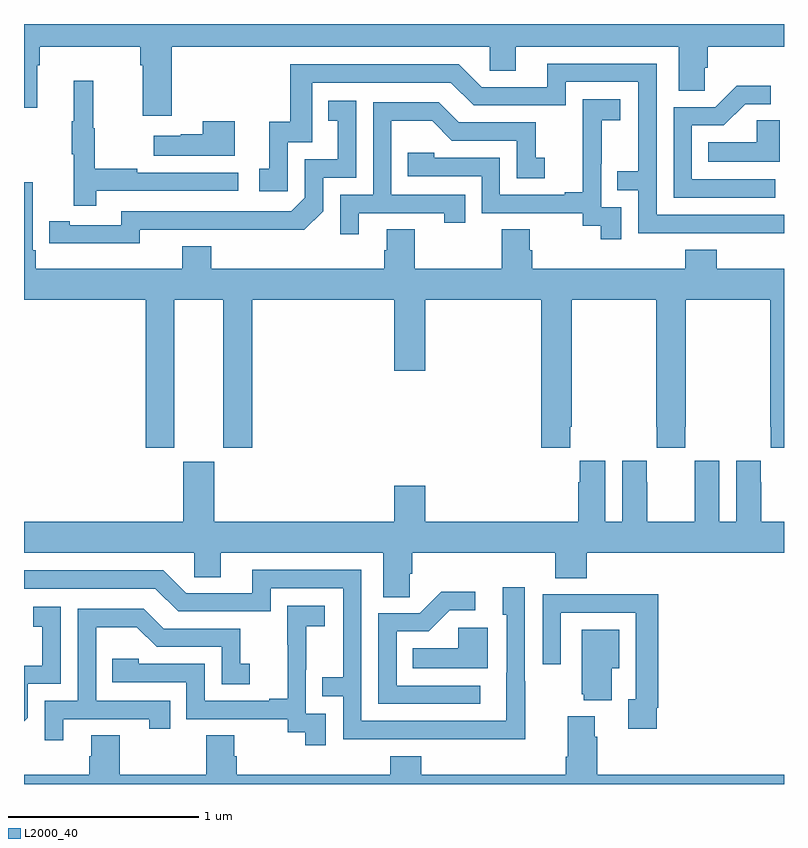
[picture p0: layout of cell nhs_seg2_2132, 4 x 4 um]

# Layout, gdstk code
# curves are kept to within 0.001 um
import gdstk
lib = gdstk.Library(unit=1e-6, precision=1e-09)
def P(c, l, *ps):  # polygons
    for p in ps: c.add(gdstk.Polygon(p, *l))
L2000_40 = (2000, 40)

nhs_seg2_2132 = lib.new_cell('nhs_seg2_2132')
P(nhs_seg2_2132, L2000_40, [(223,603.36),(223.069,603.36),(223.069,603.584),(223.082,603.584),(223.082,603.68),(223.613,603.68),(223.613,603.584),(223.625,603.584),(223.625,603.318),(223.778,603.318),(223.778,603.68),(225.45,603.68),(225.45,603.553),(225.589,603.553),(225.589,603.68),(226.445,603.68),(226.445,603.448),(226.584,603.448),(226.584,603.571),(226.598,603.571),(226.598,603.68),(227,603.68),(227,603.8),(223,603.8)],
  [(227,602.796),(226.329,602.796),(226.329,603.591),(225.755,603.591),(225.755,603.468),(225.408,603.468),(225.288,603.588),(224.401,603.588),(224.401,603.286),(224.291,603.286),(224.291,603.039),(224.238,603.039),(224.238,602.919),(224.388,602.919),(224.388,603.177),(224.517,603.177),(224.517,603.492),(225.246,603.492),(225.366,603.372),(225.852,603.372),(225.852,603.495),(226.233,603.495),(226.233,603.026),(226.123,603.026),(226.123,602.925),(226.233,602.925),(226.233,602.7),(227,602.699)],
  [(223.379,602.922),(224.128,602.922),(224.128,603.018),(223.595,603.018),(223.595,603.038),(223.372,603.038),(223.372,603.252),(223.364,603.252),(223.364,603.502),(223.262,603.502),(223.262,603.289),(223.251,603.289),(223.251,603.115),(223.262,603.115),(223.262,602.844),(223.379,602.844)],
  [(226.954,602.982),(226.515,602.982),(226.515,603.267),(226.684,603.267),(226.795,603.378),(226.93,603.378),(226.93,603.476),(226.751,603.476),(226.638,603.363),(226.419,603.363),(226.419,602.886),(226.954,602.886)],
  [(226.143,602.835),(226.038,602.835),(226.038,603.065),(226.04,603.065),(226.04,603.293),(226.138,603.293),(226.138,603.403),(225.94,603.403),(225.94,603.197),(225.941,603.197),(225.941,602.914),(225.845,602.914),(225.845,602.901),(225.504,602.901),(225.504,603.096),(225.159,603.096),(225.159,603.123),(225.019,603.123),(225.019,603),(225.408,603),(225.408,602.805),(225.942,602.805),(225.942,602.737),(226.035,602.737),(226.035,602.667),(226.143,602.667)],
  [(223.608,602.718),(224.476,602.717),(224.574,602.814),(224.574,602.991),(224.748,602.991),(224.748,603.397),(224.602,603.397),(224.602,603.291),(224.651,603.291),(224.651,603.087),(224.478,603.087),(224.478,602.886),(224.406,602.814),(223.512,602.814),(223.512,602.742),(223.24,602.742),(223.24,602.762),(223.132,602.762),(223.132,602.646),(223.608,602.645)],
  [(224.761,602.805),(225.212,602.805),(225.212,602.754),(225.323,602.754),(225.323,602.901),(224.934,602.901),(224.934,603.29),(225.148,603.29),(225.252,603.186),(225.594,603.186),(225.594,602.988),(225.742,602.988),(225.742,603.097),(225.693,603.097),(225.693,603.282),(225.289,603.282),(225.184,603.387),(224.838,603.387),(224.838,602.901),(224.664,602.901),(224.664,602.694),(224.761,602.694)],
  [(226.978,603.293),(226.857,603.293),(226.857,603.178),(226.6,603.178),(226.6,603.074),(226.978,603.074)],
  [(224.11,603.289),(223.94,603.289),(223.94,603.221),(223.826,603.221),(223.826,603.211),(223.683,603.211),(223.683,603.107),(224.11,603.107)],
  [(224.909,602.61),(224.897,602.61),(224.897,602.512),(223.985,602.512),(223.985,602.629),(223.832,602.629),(223.832,602.512),(223.061,602.512),(223.061,602.608),(223.047,602.608),(223.047,602.968),(223,602.968),(223,602.348),(223.64,602.348),(223.64,601.569),(223.792,601.569),(223.792,602.348),(224.048,602.348),(224.048,601.569),(224.201,601.569),(224.201,602.348),(224.948,602.348),(224.948,601.974),(225.112,601.974),(225.112,602.348),(225.722,602.348),(225.722,601.569),(225.875,601.569),(225.875,601.681),(225.882,601.681),(225.882,602.348),(226.327,602.348),(226.327,601.681),(226.329,601.681),(226.329,601.569),(226.479,601.569),(226.479,601.681),(226.482,601.681),(226.482,602.348),(226.927,602.348),(226.927,601.681),(226.929,601.681),(226.929,601.569),(227,601.569),(227,602.512),(226.646,602.512),(226.646,602.611),(226.481,602.611),(226.481,602.512),(225.674,602.512),(225.674,602.61),(225.661,602.61),(225.661,602.72),(225.514,602.72),(225.514,602.512),(225.057,602.512),(225.057,602.72),(224.909,602.72)],
  [(225.03,600.907),(225.044,600.907),(225.044,601.016),(225.797,601.016),(225.797,600.883),(225.962,600.883),(225.962,601.016),(227,601.016),(227,601.18),(226.879,601.18),(226.879,601.388),(226.878,601.388),(226.878,601.501),(226.748,601.501),(226.748,601.18),(226.66,601.18),(226.66,601.501),(226.53,601.501),(226.53,601.388),(226.529,601.388),(226.529,601.18),(226.279,601.18),(226.279,601.388),(226.278,601.388),(226.278,601.501),(226.148,601.501),(226.148,601.18),(226.06,601.18),(226.06,601.501),(225.926,601.501),(225.926,601.388),(225.917,601.388),(225.917,601.18),(225.112,601.18),(225.112,601.369),(224.948,601.369),(224.948,601.18),(224.002,601.18),(224.002,601.497),(223.838,601.497),(223.838,601.18),(223,601.18),(223,601.016),(223.896,601.016),(223.896,600.889),(224.035,600.889),(224.035,601.016),(224.891,601.016),(224.891,600.784),(225.03,600.784)],
  [(225.639,600.341),(225.636,600.341),(225.636,600.835),(225.521,600.835),(225.521,600.69),(225.54,600.69),(225.539,600.132),(224.775,600.132),(224.775,600.927),(224.201,600.927),(224.201,600.804),(223.854,600.804),(223.734,600.924),(223,600.924),(223,600.828),(223.692,600.828),(223.812,600.708),(224.298,600.708),(224.298,600.831),(224.679,600.831),(224.679,600.362),(224.569,600.362),(224.569,600.261),(224.679,600.261),(224.679,600.036),(225.639,600.035)],
  [(225.4,600.318),(224.961,600.318),(224.961,600.603),(225.13,600.603),(225.241,600.714),(225.376,600.714),(225.376,600.812),(225.197,600.812),(225.084,600.699),(224.865,600.699),(224.865,600.222),(225.4,600.222)],
  [(226.33,600.202),(226.337,600.202),(226.337,600.8),(226.045,600.8),(226.045,600.798),(225.729,600.798),(225.729,600.429),(225.825,600.429),(225.825,600.702),(226.221,600.702),(226.221,600.246),(226.181,600.246),(226.181,600.09),(226.33,600.09)],
  [(224.589,600.171),(224.484,600.171),(224.484,600.401),(224.486,600.401),(224.486,600.629),(224.584,600.629),(224.584,600.739),(224.386,600.739),(224.386,600.533),(224.387,600.533),(224.387,600.25),(224.291,600.25),(224.291,600.237),(223.95,600.237),(223.95,600.432),(223.605,600.432),(223.605,600.459),(223.465,600.459),(223.465,600.336),(223.854,600.336),(223.854,600.141),(224.388,600.141),(224.388,600.073),(224.481,600.073),(224.481,600.003),(224.589,600.003)],
  [(223.02,600.15),(223.02,600.327),(223.194,600.327),(223.194,600.733),(223.048,600.733),(223.048,600.627),(223.097,600.627),(223.097,600.423),(223,600.423),(223,600.13)],
  [(223.207,600.141),(223.658,600.141),(223.658,600.09),(223.769,600.09),(223.769,600.237),(223.38,600.237),(223.38,600.626),(223.594,600.626),(223.698,600.522),(224.04,600.522),(224.04,600.324),(224.188,600.324),(224.188,600.433),(224.139,600.433),(224.139,600.618),(223.735,600.618),(223.63,600.723),(223.284,600.723),(223.284,600.237),(223.11,600.237),(223.11,600.03),(223.207,600.03)],
  [(225.442,600.622),(225.285,600.622),(225.285,600.514),(225.046,600.514),(225.046,600.41),(225.442,600.41)],
  [(226.093,600.41),(226.132,600.41),(226.132,600.613),(225.935,600.613),(225.935,600.273),(225.947,600.273),(225.947,600.242),(226.093,600.242)],
  [(224.927,599.947),(224.927,599.848),(224.12,599.848),(224.12,599.946),(224.107,599.946),(224.107,600.056),(223.96,600.056),(223.96,599.848),(223.503,599.848),(223.503,600.056),(223.355,600.056),(223.355,599.946),(223.343,599.946),(223.343,599.848),(223,599.848),(223,599.8),(227,599.8),(227,599.848),(226.016,599.848),(226.016,600.05),(226.003,600.05),(226.003,600.157),(225.863,600.157),(225.863,599.944),(225.851,599.944),(225.851,599.848),(225.092,599.848),(225.092,599.947)])

lib.write_gds('nhs_seg2_2132.gds')
